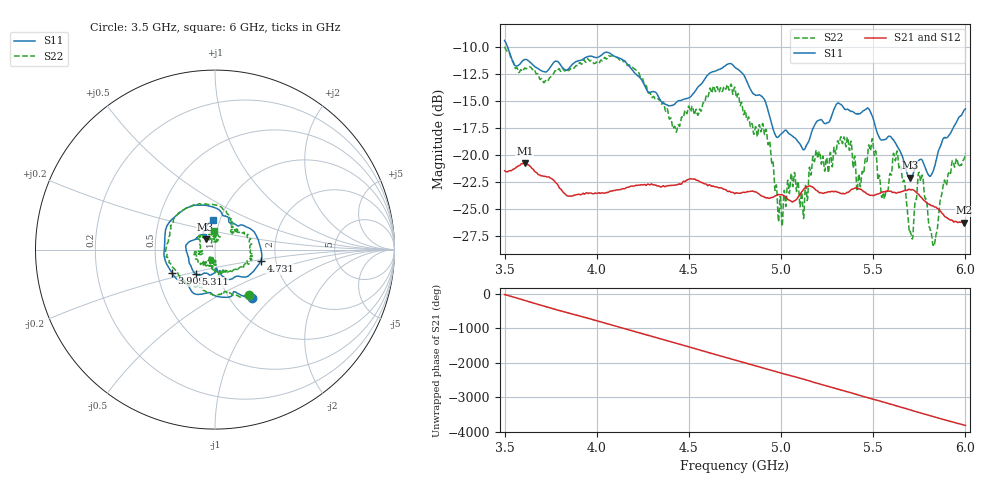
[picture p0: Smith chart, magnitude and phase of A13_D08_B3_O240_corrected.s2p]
! Created with skrf 1.9.0 (http://scikit-rf.org).
# Hz S RI R 50.0
!freq ReS11 ImS11 ReS21 ImS21 ReS12 ImS12 ReS22 ImS22
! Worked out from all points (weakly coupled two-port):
!   1601 points, 3.5 GHz to 6 GHz, reference 50 ohm
!   highest |S21| = -20.78 dB at 3.609 GHz (marker M1); lowest = -26.3 dB at 5.992 GHz (marker M2)
!   lowest |S11| = -22.1 dB at 5.698 GHz (marker M3), VSWR 1.17, Z = 44.8 + j5.25 ohm
!   |S11| at or under -10 dB: 3.515 GHz to end of sweep
!   |S22| runs from -28.5 to -10.0 dB; largest |S21 - S12| = 0.0011
!   S11 on the Smith chart (normalised r, x): 3.5 GHz: 1.26, -0.76; 3.909 GHz: 0.60, -0.17; 4.731 GHz: 1.67, -0.23; 5.311 GHz: 0.78, -0.22; 6 GHz: 0.93, +0.31
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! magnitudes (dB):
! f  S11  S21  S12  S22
! 3.5 GHz  -9.4  -21.5  -21.5  -10.0
! 3.609 GHz  -11.2  -20.8  -20.8  -12.0
! 3.909 GHz  -11.3  -23.7  -23.7  -11.5
! 3.917 GHz  -11.2  -23.7  -23.7  -11.6
! 4.334 GHz  -14.6  -22.9  -22.9  -14.9
! 4.425 GHz  -15.3  -22.8  -22.8  -17.5
! 4.731 GHz  -11.6  -23.5  -23.5  -13.6
! 4.75 GHz  -11.9  -23.6  -23.5  -13.8
! 4.911 GHz  -14.9  -23.9  -23.9  -18.2
! 4.995 GHz  -18.2  -23.7  -23.7  -23.9
! 5.064 GHz  -18.3  -24.4  -24.4  -23.0
! 5.131 GHz  -19.4  -23.1  -23.1  -23.0
! 5.167 GHz  -17.8  -23.0  -23.0  -21.1
! 5.311 GHz  -15.2  -23.5  -23.5  -18.9
! 5.584 GHz  -18.3  -23.4  -23.4  -22.6
! 5.638 GHz  -19.4  -23.5  -23.5  -20.9
! 5.698 GHz  -22.1  -23.2  -23.2  -27.2
! 5.756 GHz  -20.4  -23.9  -23.9  -22.5
! 5.831 GHz  -21.2  -24.8  -24.8  -28.4
! 5.88 GHz  -18.5  -25.5  -25.5  -22.8
! 5.992 GHz  -15.9  -26.3  -26.3  -20.4
! 6 GHz  -15.8  -26.3  -26.3  -19.9
